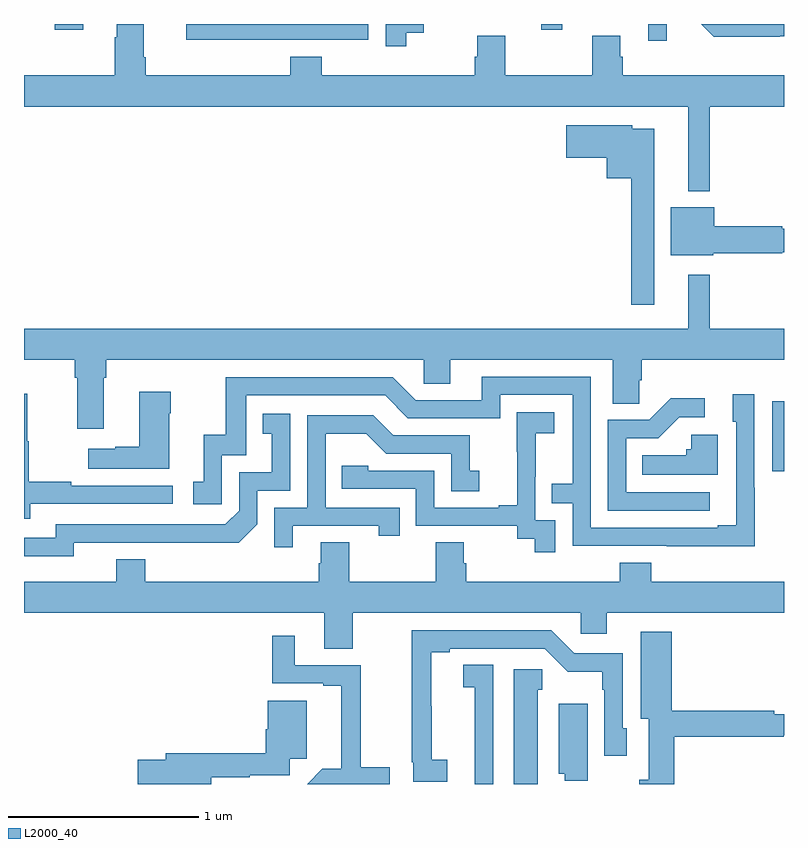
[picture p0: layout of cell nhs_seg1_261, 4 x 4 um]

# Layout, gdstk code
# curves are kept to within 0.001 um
import gdstk
lib = gdstk.Library(unit=1e-6, precision=1e-09)
def R(c, l, rs):  # rectangles x0, y0, x1, y1
    for r in rs: c.add(gdstk.rectangle(r[:2], r[2:], *l))
def P(c, l, *ps):  # polygons
    for p in ps: c.add(gdstk.Polygon(p, *l))
L2000_40 = (2000, 40)

nhs_seg1_261 = lib.new_cell('nhs_seg1_261')
R(nhs_seg1_261, L2000_40, [(128.937,517.845,129,518.214), (128.285,520.11,128.382,520.199), (125.163,520.17,125.311,520.199), (127.723,520.17,127.834,520.199)])
P(nhs_seg1_261, L2000_40, [(128.978,520.134),(129,520.134),(129,520.199),(128.565,520.199),(128.631,520.133),(128.978,520.133)],
  [(126.317,520.116),(126.813,520.116),(126.813,520.199),(125.854,520.199),(125.854,520.115),(126.317,520.115)],
  [(127.012,520.153),(127.104,520.153),(127.104,520.199),(126.903,520.199),(126.903,520.083),(127.012,520.083)],
  [(128.15,520.026),(128.137,520.026),(128.137,520.136),(127.99,520.136),(127.99,519.928),(127.533,519.928),(127.533,520.136),(127.385,520.136),(127.385,520.026),(127.373,520.026),(127.373,519.928),(126.566,519.928),(126.566,520.027),(126.401,520.027),(126.401,519.928),(125.642,519.928),(125.642,520.024),(125.629,520.024),(125.629,520.199),(125.489,520.199),(125.489,520.13),(125.477,520.13),(125.477,519.928),(125,519.928),(125,519.764),(128.495,519.764),(128.495,519.32),(128.609,519.32),(128.609,519.764),(129,519.764),(129,519.928),(128.15,519.928)],
  [(128.317,519.649),(128.202,519.649),(128.202,519.667),(127.854,519.667),(127.854,519.496),(128.066,519.496),(128.066,519.386),(128.196,519.386),(128.196,518.721),(128.317,518.721)],
  [(128.628,518.992),(128.99,518.992),(128.99,518.999),(129,518.999),(129,519.121),(128.99,519.121),(128.99,519.134),(128.632,519.134),(128.632,519.235),(128.405,519.235),(128.405,518.981),(128.628,518.981)],
  [(125.419,518.336),(125.432,518.336),(125.432,518.432),(127.104,518.432),(127.104,518.305),(127.243,518.305),(127.243,518.432),(128.099,518.432),(128.099,518.2),(128.238,518.2),(128.238,518.323),(128.252,518.323),(128.252,518.432),(129,518.432),(129,518.596),(128.609,518.596),(128.609,518.878),(128.495,518.878),(128.495,518.596),(125,518.596),(125,518.432),(125.267,518.432),(125.267,518.336),(125.279,518.336),(125.279,518.07),(125.419,518.07)],
  [(128.847,517.757),(128.844,517.757),(128.844,518.251),(128.729,518.251),(128.729,518.106),(128.748,518.106),(128.748,517.561),(128.651,517.561),(128.651,517.548),(127.983,517.548),(127.983,518.343),(127.409,518.343),(127.409,518.22),(127.062,518.22),(126.942,518.34),(126.063,518.34),(126.063,518.038),(125.945,518.038),(125.945,517.791),(125.892,517.791),(125.892,517.671),(126.042,517.671),(126.042,517.929),(126.171,517.929),(126.171,518.244),(126.9,518.244),(127.02,518.124),(127.506,518.124),(127.506,518.247),(127.887,518.247),(127.887,517.778),(127.777,517.778),(127.777,517.677),(127.887,517.677),(127.887,517.452),(128.847,517.451)],
  [(125.764,518.15),(125.772,518.15),(125.772,518.263),(125.606,518.263),(125.606,517.973),(125.48,517.973),(125.48,517.963),(125.337,517.963),(125.337,517.859),(125.764,517.859)],
  [(125.033,517.674),(125.782,517.674),(125.782,517.77),(125.249,517.77),(125.249,517.79),(125.026,517.79),(125.026,518.004),(125.018,518.004),(125.018,518.254),(125,518.254),(125,517.596),(125.033,517.596)],
  [(128.608,517.734),(128.169,517.734),(128.169,518.019),(128.338,518.019),(128.449,518.13),(128.584,518.13),(128.584,518.228),(128.405,518.228),(128.292,518.115),(128.073,518.115),(128.073,517.638),(128.608,517.638)],
  [(127.797,517.587),(127.692,517.587),(127.692,517.817),(127.694,517.817),(127.694,518.045),(127.792,518.045),(127.792,518.155),(127.594,518.155),(127.594,517.949),(127.595,517.949),(127.595,517.666),(127.499,517.666),(127.499,517.653),(127.158,517.653),(127.158,517.848),(126.813,517.848),(126.813,517.875),(126.673,517.875),(126.673,517.752),(127.062,517.752),(127.062,517.557),(127.596,517.557),(127.596,517.489),(127.689,517.489),(127.689,517.419),(127.797,517.419)],
  [(125.262,517.47),(126.13,517.469),(126.228,517.566),(126.228,517.743),(126.402,517.743),(126.402,518.149),(126.256,518.149),(126.256,518.043),(126.305,518.043),(126.305,517.839),(126.132,517.839),(126.132,517.638),(126.06,517.566),(125.166,517.566),(125.166,517.494),(125,517.494),(125,517.397),(125.262,517.397)],
  [(126.415,517.557),(126.866,517.557),(126.866,517.506),(126.977,517.506),(126.977,517.653),(126.588,517.653),(126.588,518.042),(126.802,518.042),(126.906,517.938),(127.248,517.938),(127.248,517.74),(127.396,517.74),(127.396,517.849),(127.347,517.849),(127.347,518.034),(126.943,518.034),(126.838,518.139),(126.492,518.139),(126.492,517.653),(126.318,517.653),(126.318,517.446),(126.415,517.446)],
  [(128.65,518.038),(128.511,518.038),(128.511,517.962),(128.485,517.962),(128.485,517.93),(128.254,517.93),(128.254,517.826),(128.65,517.826)],
  [(126.729,517.1),(127.929,517.1),(127.929,516.99),(128.068,516.99),(128.068,517.1),(129,517.1),(129,517.264),(128.3,517.264),(128.3,517.363),(128.135,517.363),(128.135,517.264),(127.328,517.264),(127.328,517.362),(127.315,517.362),(127.315,517.472),(127.168,517.472),(127.168,517.264),(126.711,517.264),(126.711,517.472),(126.563,517.472),(126.563,517.362),(126.551,517.362),(126.551,517.264),(125.639,517.264),(125.639,517.381),(125.486,517.381),(125.486,517.264),(125,517.264),(125,517.1),(126.581,517.1),(126.581,516.91),(126.729,516.91)],
  [(127.228,516.326),(127.146,516.326),(127.144,516.892),(127.24,516.892),(127.24,516.912),(127.74,516.912),(127.861,516.791),(128.043,516.791),(128.043,516.695),(128.055,516.695),(128.055,516.347),(128.172,516.347),(128.172,516.492),(128.151,516.492),(128.151,516.888),(127.896,516.888),(127.776,517.008),(127.042,517.008),(127.042,516.313),(127.048,516.313),(127.048,516.211),(127.228,516.211)],
  [(128.423,516.448),(128.999,516.448),(128.999,516.456),(129,516.456),(129,516.565),(128.948,516.565),(128.948,516.584),(128.41,516.584),(128.41,517),(128.246,517),(128.246,516.542),(128.288,516.542),(128.288,516.222),(128.238,516.222),(128.238,516.199),(128.423,516.199)],
  [(126.924,516.287),(126.773,516.287),(126.773,516.825),(126.424,516.825),(126.424,516.979),(126.307,516.979),(126.307,516.729),(126.575,516.729),(126.575,516.717),(126.671,516.717),(126.671,516.28),(126.571,516.28),(126.49,516.199),(126.924,516.199)],
  [(127.47,516.827),(127.311,516.827),(127.311,516.707),(127.372,516.707),(127.372,516.403),(127.373,516.403),(127.373,516.199),(127.47,516.199)],
  [(127.705,516.696),(127.727,516.696),(127.727,516.802),(127.577,516.802),(127.577,516.199),(127.705,516.199)],
  [(125.986,516.234),(126.188,516.234),(126.188,516.246),(126.399,516.246),(126.399,516.332),(126.487,516.332),(126.487,516.637),(126.284,516.637),(126.284,516.486),(126.272,516.486),(126.272,516.362),(125.747,516.362),(125.747,516.326),(125.598,516.326),(125.598,516.199),(125.986,516.199)],
  [(127.966,516.621),(127.814,516.621),(127.814,516.254),(127.846,516.254),(127.846,516.217),(127.966,516.217)])

lib.write_gds('nhs_seg1_261.gds')
